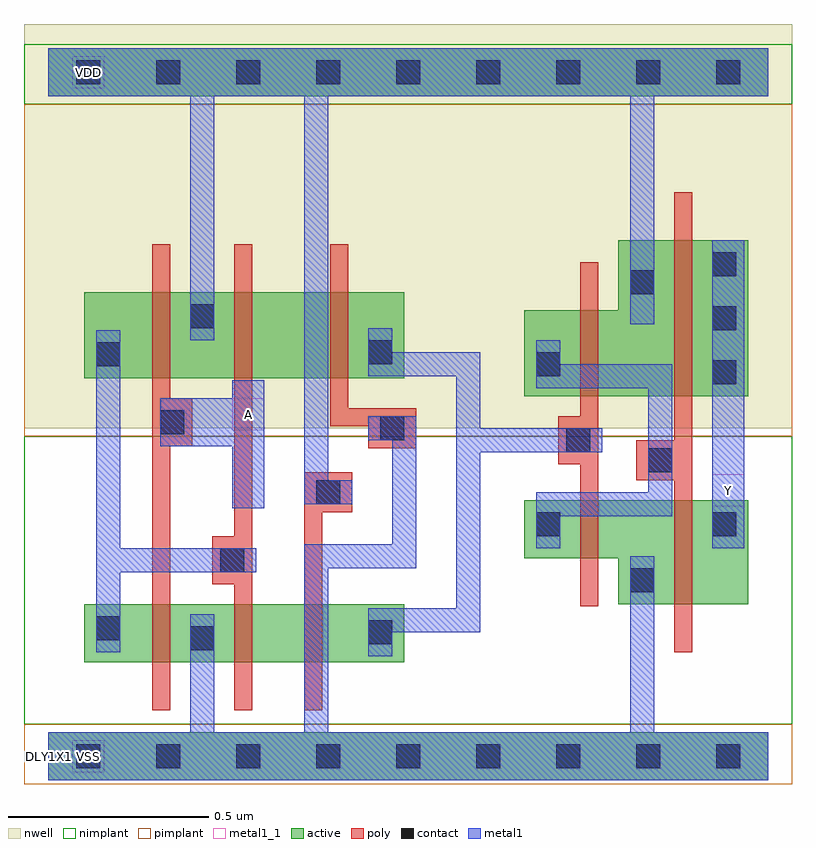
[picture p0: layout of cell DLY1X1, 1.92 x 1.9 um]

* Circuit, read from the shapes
.subckt DLY1X1 A VDD VSS Y
M1 VSS A n1 VSS nfet w=0.145u l=0.045u
M2 n2 n1 VSS VSS nfet w=0.145u l=0.045u
M3 n3 VDD n2 VSS nfet w=0.145u l=0.045u
M4 VSS n3 n4 VSS nfet w=0.145u l=0.045u
M5 Y n4 VSS VSS nfet w=0.26u l=0.045u
M6 VDD A n1 VDD pfet w=0.215u l=0.045u
M7 n5 n1 VDD VDD pfet w=0.215u l=0.045u
M8 n3 VSS n5 VDD pfet w=0.215u l=0.045u
M9 VDD n3 n4 VDD pfet w=0.215u l=0.045u
M10 Y n4 VDD VDD pfet w=0.39u l=0.045u
.ends

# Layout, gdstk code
import gdstk
lib = gdstk.Library(unit=1e-6, precision=5e-10)
def R(c, l, rs):  # rectangles x0, y0, x1, y1
    for r in rs: c.add(gdstk.rectangle(r[:2], r[2:], *l))
def A(c, l, x, y, w, h, nx, ny, dx, dy):  # array of equal rectangles
    R(c, l, [(x+i*dx, y+j*dy, x+i*dx+w, y+j*dy+h) for i in range(nx) for j in range(ny)])
def P(c, l, *ps):  # polygons
    for p in ps: c.add(gdstk.Polygon(p, *l))
active = (1, 0)
nwell = (2, 0)
poly = (3, 0)
nimplant = (4, 0)
pimplant = (5, 0)
contact = (6, 0)
metal1 = (7, 0)
metal1_1 = (7, 1)

dly1x1 = lib.new_cell('DLY1X1')
R(dly1x1, active, [(0,-0.06,1.8,0.06), (0.09,0.235,0.89,0.38), (0.09,0.945,0.89,1.16), (0,1.65,1.8,1.77)])
P(dly1x1, active, [(1.425,1.29),(1.75,1.29),(1.75,0.9),(1.19,0.9),(1.19,1.115),(1.425,1.115)],
  [(1.19,0.64),(1.75,0.64),(1.75,0.38),(1.425,0.38),(1.425,0.495),(1.19,0.495)])
R(dly1x1, nwell, [(-0.06,0.82,1.86,1.83)])
P(dly1x1, poly, [(1.565,1.41),(1.61,1.41),(1.61,0.26),(1.565,0.26),(1.565,0.69),(1.47,0.69),(1.47,0.79),(1.565,0.79)],
  [(0.26,1.28),(0.305,1.28),(0.305,0.895),(0.36,0.895),(0.36,0.775),(0.305,0.775),(0.305,0.115),(0.26,0.115)],
  [(0.465,1.28),(0.51,1.28),(0.51,0.115),(0.465,0.115),(0.465,0.43),(0.41,0.43),(0.41,0.55),(0.465,0.55)],
  [(0.705,1.28),(0.75,1.28),(0.75,0.87),(0.92,0.87),(0.92,0.77),(0.8,0.77),(0.8,0.825),(0.705,0.825)],
  [(1.33,1.235),(1.375,1.235),(1.375,0.375),(1.33,0.375),(1.33,0.73),(1.275,0.73),(1.275,0.85),(1.33,0.85)],
  [(0.64,0.71),(0.76,0.71),(0.76,0.61),(0.685,0.61),(0.685,0.115),(0.64,0.115)])
R(dly1x1, nimplant, [(-0.06,0.08,1.86,0.8), (-0.06,1.63,1.86,1.78)])
R(dly1x1, pimplant, [(-0.06,-0.07,1.86,0.08), (-0.06,0.8,1.86,1.63)])
A(dly1x1, contact, 0.07, -0.03, 0.06, 0.06, 9, 2, 0.2, 1.71)
A(dly1x1, contact, 1.66, 0.93, 0.06, 0.06, 1, 3, 0, 0.135)
R(dly1x1, contact, [(0.355,0.265,0.415,0.325), (0.8,0.28,0.86,0.34), (0.12,0.29,0.18,0.35), (1.455,0.41,1.515,0.47), (0.43,0.46,0.49,0.52), (1.22,0.55,1.28,0.61), (1.66,0.55,1.72,0.61), (0.67,0.63,0.73,0.69), (1.5,0.71,1.56,0.77), (1.295,0.76,1.355,0.82), (0.83,0.79,0.89,0.85), (0.28,0.805,0.34,0.865), (1.22,0.95,1.28,1.01), (0.12,0.975,0.18,1.035), (0.8,0.98,0.86,1.04), (0.355,1.07,0.415,1.13), (1.455,1.155,1.515,1.215)])
R(dly1x1, metal1, [(1.66,0.52,1.74,1.29)])
P(dly1x1, metal1, [(0,1.77),(1.8,1.77),(1.8,1.65),(1.515,1.65),(1.515,1.08),(1.455,1.08),(1.455,1.65),(0.7,1.65),(0.7,0.69),(0.76,0.69),(0.76,0.63),(0.64,0.63),(0.64,1.65),(0.415,1.65),(0.415,1.04),(0.355,1.04),(0.355,1.65),(0,1.65)],
  [(0.12,1.065),(0.18,1.065),(0.18,0.52),(0.52,0.52),(0.52,0.46),(0.18,0.46),(0.18,0.26),(0.12,0.26)],
  [(0.46,0.94),(0.54,0.94),(0.54,0.62),(0.46,0.62),(0.46,0.775),(0.28,0.775),(0.28,0.895),(0.46,0.895)],
  [(0.8,1.07),(0.86,1.07),(0.86,1.01),(1.08,1.01),(1.08,0.82),(1.385,0.82),(1.385,0.76),(1.08,0.76),(1.08,0.31),(0.86,0.31),(0.86,0.25),(0.8,0.25),(0.8,0.37),(1.02,0.37),(1.02,0.95),(0.8,0.95)],
  [(1.22,1.04),(1.28,1.04),(1.28,0.98),(1.56,0.98),(1.56,0.6),(1.28,0.6),(1.28,0.52),(1.22,0.52),(1.22,0.66),(1.5,0.66),(1.5,0.92),(1.22,0.92)],
  [(0.8,0.85),(0.92,0.85),(0.92,0.47),(0.7,0.47),(0.7,0.06),(1.455,0.06),(1.455,0.5),(1.515,0.5),(1.515,0.06),(1.8,0.06),(1.8,-0.06),(0,-0.06),(0,0.06),(0.355,0.06),(0.355,0.355),(0.415,0.355),(0.415,0.06),(0.64,0.06),(0.64,0.53),(0.86,0.53),(0.86,0.79),(0.8,0.79)])
R(dly1x1, metal1_1, [(0.06,-0.04,0.14,0.04), (1.66,0.625,1.74,0.705), (0.46,0.815,0.54,0.895), (0.06,1.67,0.14,1.75)])
dly1x1.add(gdstk.Label('Y', (1.7,0.665), layer=7, texttype=1))
dly1x1.add(gdstk.Label('A', (0.5,0.855), layer=7, texttype=1))
dly1x1.add(gdstk.Label('VDD', (0.1,1.71), layer=7, texttype=1))
dly1x1.add(gdstk.Label('VSS', (0.1,0), layer=7, texttype=1))
dly1x1.add(gdstk.Label('DLY1X1', (0,0), layer=63, texttype=0))

lib.write_gds('DLY1X1.gds')
